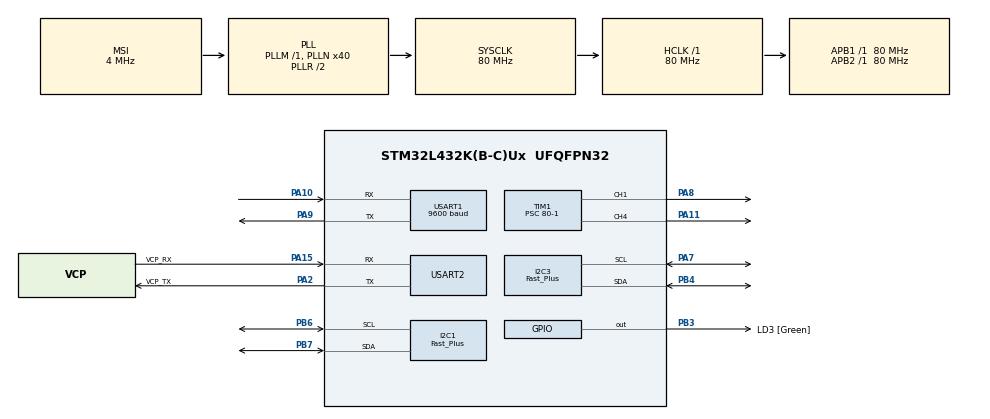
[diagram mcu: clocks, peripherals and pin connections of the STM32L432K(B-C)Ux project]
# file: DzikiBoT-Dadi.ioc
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Dma.Request0=USART1_RX
Dma.Request1=USART1_TX
Dma.USART1_RX.0.Direction=DMA_PERIPH_TO_MEMORY
Dma.USART1_RX.0.Instance=DMA1_Channel5
Dma.USART1_RX.0.MemDataAlignment=DMA_MDATAALIGN_BYTE
Dma.USART1_RX.0.MemInc=DMA_MINC_ENABLE
Dma.USART1_RX.0.Mode=DMA_NORMAL
Dma.USART1_RX.0.PeriphDataAlignment=DMA_PDATAALIGN_BYTE
Dma.USART1_RX.0.PeriphInc=DMA_PINC_DISABLE
Dma.USART1_RX.0.Priority=DMA_PRIORITY_MEDIUM
Dma.USART1_TX.1.Direction=DMA_MEMORY_TO_PERIPH
Dma.USART1_TX.1.Instance=DMA1_Channel4
Dma.USART1_TX.1.MemDataAlignment=DMA_MDATAALIGN_BYTE
Dma.USART1_TX.1.MemInc=DMA_MINC_ENABLE
Dma.USART1_TX.1.Mode=DMA_NORMAL
Dma.USART1_TX.1.PeriphDataAlignment=DMA_PDATAALIGN_BYTE
Dma.USART1_TX.1.PeriphInc=DMA_PINC_DISABLE
Dma.USART1_TX.1.Priority=DMA_PRIORITY_MEDIUM
I2C1.I2C_Speed_Mode=I2C_Fast_Plus
I2C1.Timing=0x00B10E24
I2C3.I2C_Speed_Mode=I2C_Fast_Plus
I2C3.Timing=0x00B10E24
Mcu.Family=STM32L4
Mcu.Name=STM32L432K(B-C)Ux
Mcu.Package=UFQFPN32
NVIC.DMA1_Channel4_IRQn=true\:0\:0\:false\:false\:true\:false\:true\:true
NVIC.DMA1_Channel5_IRQn=true\:0\:0\:false\:false\:true\:false\:true\:true
NVIC.I2C1_ER_IRQn=true\:0\:0\:false\:false\:true\:true\:true\:true
NVIC.I2C1_EV_IRQn=true\:0\:0\:false\:false\:true\:true\:true\:true
NVIC.I2C3_ER_IRQn=true\:0\:0\:false\:false\:true\:true\:true\:true
NVIC.I2C3_EV_IRQn=true\:0\:0\:false\:false\:true\:true\:true\:true
NVIC.PriorityGroup=NVIC_PRIORITYGROUP_4
NVIC.USART1_IRQn=true\:0\:0\:false\:false\:true\:true\:true\:true
NVIC.USART2_IRQn=true\:0\:0\:false\:false\:true\:true\:true\:true
PA0.GPIO_Label=MCO [High speed clock in]
PA0.Mode=HSE-External-Clock-Source-for-LittleOrca
PA0.Signal=RCC_CK_IN
PA10.GPIO_Speed=GPIO_SPEED_FREQ_HIGH
PA10.Mode=Asynchronous
PA10.Signal=USART1_RX
PA11.Signal=S_TIM1_CH4
PA13\ (JTMS-SWDIO).GPIO_Label=SWDIO
PA13\ (JTMS-SWDIO).Mode=Serial_Wire
PA13\ (JTMS-SWDIO).Signal=SYS_JTMS-SWDIO
PA14\ (JTCK-SWCLK).GPIO_Label=SWCLK
PA14\ (JTCK-SWCLK).Mode=Serial_Wire
PA14\ (JTCK-SWCLK).Signal=SYS_JTCK-SWCLK
PA15\ (JTDI).GPIO_Label=VCP_RX
PA15\ (JTDI).Mode=Asynchronous
PA15\ (JTDI).Signal=USART2_RX
PA2.GPIO_Label=VCP_TX
PA2.Mode=Asynchronous
PA2.Signal=USART2_TX
PA7.Mode=I2C
PA7.Signal=I2C3_SCL
PA8.Signal=S_TIM1_CH1
PA9.GPIO_Speed=GPIO_SPEED_FREQ_HIGH
PA9.Mode=Asynchronous
PA9.Signal=USART1_TX
PB3\ (JTDO-TRACESWO).GPIO_Label=LD3 [Green]
PB3\ (JTDO-TRACESWO).Signal=GPIO_Output
PB4\ (NJTRST).Mode=I2C
PB4\ (NJTRST).Signal=I2C3_SDA
PB6.Mode=I2C
PB6.Signal=I2C1_SCL
PB7.Mode=I2C
PB7.Signal=I2C1_SDA
PC14-OSC32_IN\ (PC14).Mode=LSE-External-Oscillator
PC14-OSC32_IN\ (PC14).Signal=RCC_OSC32_IN
PC15-OSC32_OUT\ (PC15).Mode=LSE-External-Oscillator
PC15-OSC32_OUT\ (PC15).Signal=RCC_OSC32_OUT
ProjectManager.HeapSize=0x200
ProjectManager.StackSize=0x400
ProjectManager.TargetToolchain=STM32CubeIDE
RCC.AHBFreq_Value=80000000
RCC.APB1Freq_Value=80000000
RCC.APB1TimFreq_Value=80000000
RCC.APB2Freq_Value=80000000
RCC.APB2TimFreq_Value=80000000
RCC.CortexFreq_Value=80000000
RCC.HCLKFreq_Value=80000000
RCC.HSE_VALUE=8000000
RCC.HSI16_VALUE=16000000
RCC.HSI48_VALUE=48000000
RCC.HSI_VALUE=16000000
RCC.MSI_VALUE=4000000
RCC.PLLMUL=RCC_PLLMUL_4
RCC.PLLN=40
RCC.SYSCLKFreq_VALUE=80000000
RCC.SYSCLKSource=RCC_SYSCLKSOURCE_PLLCLK
RCC.VCOOutputFreq_Value=160000000
SH.S_TIM1_CH1.0=TIM1_CH1,PWM Generation1 CH1
SH.S_TIM1_CH4.0=TIM1_CH4,PWM Generation4 CH4
TIM1.Channel-PWM\ Generation1\ CH1=TIM_CHANNEL_1
TIM1.Channel-PWM\ Generation4\ CH4=TIM_CHANNEL_4
TIM1.Period=20000-1
TIM1.Prescaler=80-1
USART1.BaudRate=9600
USART1.VirtualMode-Asynchronous=VM_ASYNC
USART2.VirtualMode-Asynchronous=VM_ASYNC
VP_SYS_V_PVD_IN.Mode=Mode_PVD_Int
VP_TIM1_VS_ClockSourceINT.Mode=Internal
board=NUCLEO-L432KC

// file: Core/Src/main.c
/* USER CODE BEGIN Header */

/* USER CODE END Header */
#include "main.h"
#include "dma.h"
#include "i2c.h"
#include "tim.h"
#include "usart.h"
#include "gpio.h"

/* USER CODE BEGIN Includes */

#include <stdio.h>
#include <string.h>
#include <stdarg.h>

/* moduły projektu */
#include "tf_luna_i2c.h"
#include "tcs3472.h"
#include "ssd1306.h"
#include "oled_panel.h"
#include "debug_uart.h"
#include "i2c_scan.h"
#include "config.h"
#include "motor_bldc.h"
#include "tank_drive.h"
#include "drive_test.h"

#include "app.h"
/* USER CODE END Includes */

/* USER CODE BEGIN PD */

/* Okresy zadań (ms) obecnie i tak bierzemy z CFG_Motors()
#define PERIOD_TANK_MS     20U
#define PERIOD_SENS_MS    100U
#define PERIOD_OLED_MS    200U
#define PERIOD_UART_MS    200U
 */
/* USER CODE END PD */

void SystemClock_Config(void);
/* USER CODE BEGIN PFP */

/* jeśli chcesz printf → UART2 */
int __io_putchar(int ch)
{
    HAL_UART_Transmit(&huart2, (uint8_t *)&ch, 1, HAL_MAX_DELAY);
    return ch;
}

/* USER CODE END PFP */

int main(void)
{

  /* MCU Configuration--------------------------------------------------------*/

  /* Reset of all peripherals, Initializes the Flash interface and the Systick. */
  HAL_Init();

  /* Configure the system clock */
  SystemClock_Config();

  /* Initialize all configured peripherals */
  MX_GPIO_Init();
  MX_DMA_Init();
  MX_USART2_UART_Init();
  MX_I2C1_Init();
  MX_TIM1_Init();
  MX_I2C3_Init();
  MX_USART1_UART_Init();
  /* USER CODE BEGIN 2 */
  App_Init();
  /* USER CODE END 2 */

  /* Infinite loop */
  /* USER CODE BEGIN WHILE */

  while (1)
  {
    App_Tick();
    /* USER CODE END WHILE */

  }
}

void SystemClock_Config(void)
{
  RCC_OscInitTypeDef RCC_OscInitStruct = {0};
  RCC_ClkInitTypeDef RCC_ClkInitStruct = {0};

  /** Configure the main internal regulator output voltage
  */
  if (HAL_PWREx_ControlVoltageScaling(PWR_REGULATOR_VOLTAGE_SCALE1) != HAL_OK)
  {
    Error_Handler();
  }

  /** Configure LSE Drive Capability
  */
  HAL_PWR_EnableBkUpAccess();
  __HAL_RCC_LSEDRIVE_CONFIG(RCC_LSEDRIVE_LOW);

  /** Initializes the RCC Oscillators according to the specified parameters
  * in the RCC_OscInitTypeDef structure.
  */
  RCC_OscInitStruct.OscillatorType = RCC_OSCILLATORTYPE_LSE|RCC_OSCILLATORTYPE_MSI;
  RCC_OscInitStruct.LSEState = RCC_LSE_ON;
  RCC_OscInitStruct.MSIState = RCC_MSI_ON;
  RCC_OscInitStruct.MSICalibrationValue = 0;
  RCC_OscInitStruct.MSIClockRange = RCC_MSIRANGE_6;
  RCC_OscInitStruct.PLL.PLLState = RCC_PLL_ON;
  RCC_OscInitStruct.PLL.PLLSource = RCC_PLLSOURCE_MSI;
  RCC_OscInitStruct.PLL.PLLM = 1;
  RCC_OscInitStruct.PLL.PLLN = 40;
  RCC_OscInitStruct.PLL.PLLP = RCC_PLLP_DIV7;
  RCC_OscInitStruct.PLL.PLLQ = RCC_PLLQ_DIV2;
  RCC_OscInitStruct.PLL.PLLR = RCC_PLLR_DIV2;
  if (HAL_RCC_OscConfig(&RCC_OscInitStruct) != HAL_OK)
  {
    Error_Handler();
  }

  /** Initializes the CPU, AHB and APB buses clocks
  */
  RCC_ClkInitStruct.ClockType = RCC_CLOCKTYPE_HCLK|RCC_CLOCKTYPE_SYSCLK
                              |RCC_CLOCKTYPE_PCLK1|RCC_CLOCKTYPE_PCLK2;
  RCC_ClkInitStruct.SYSCLKSource = RCC_SYSCLKSOURCE_PLLCLK;
  RCC_ClkInitStruct.AHBCLKDivider = RCC_SYSCLK_DIV1;
  RCC_ClkInitStruct.APB1CLKDivider = RCC_HCLK_DIV1;
  RCC_ClkInitStruct.APB2CLKDivider = RCC_HCLK_DIV1;

  if (HAL_RCC_ClockConfig(&RCC_ClkInitStruct, FLASH_LATENCY_4) != HAL_OK)
  {
    Error_Handler();
  }

  /** Enable MSI Auto calibration
  */
  HAL_RCCEx_EnableMSIPLLMode();
}

void Error_Handler(void)
{
  __disable_irq();
  while (1)
  {
  }
}
